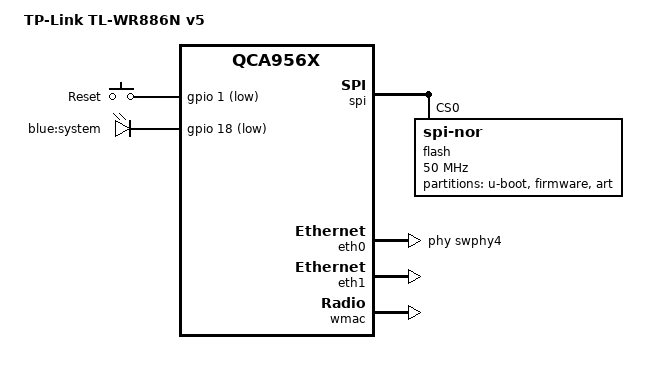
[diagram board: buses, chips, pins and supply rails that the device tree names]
// SPDX-License-Identifier: GPL-2.0-or-later OR MIT

#include "qca956x.dtsi"

#include <dt-bindings/gpio/gpio.h>
#include <dt-bindings/input/input.h>

/ {
	compatible = "tplink,tl-wr886n-v5", "qca,tp9343";
	model = "TP-Link TL-WR886N v5";

	aliases {
		label-mac-device = &wmac;
		led-boot = &led_system;
		led-failsafe = &led_system;
		led-running = &led_system;
		led-upgrade = &led_system;
	};

	keys {
		compatible = "gpio-keys";

		reset {
			label = "Reset";
			gpios = <&gpio 1 GPIO_ACTIVE_LOW>;
			linux,code = <KEY_RESTART>;
		};
	};

	leds {
		compatible = "gpio-leds";

		led_system: system {
			label = "blue:system";
			gpios = <&gpio 18 GPIO_ACTIVE_LOW>;
		};
	};
};

&spi {
	status = "okay";

	flash@0 {
		compatible = "jedec,spi-nor";
		reg = <0>;
		spi-max-frequency = <50000000>;
		m25p,fast-read;

		partitions {
			compatible = "fixed-partitions";
			#address-cells = <1>;
			#size-cells = <1>;

			uboot: partition@0 {
				label = "u-boot";
				reg = <0x000000 0x020000>;
				read-only;
			};

			partition@20000 {
				compatible = "tplink,firmware";
				label = "firmware";
				reg = <0x020000 0x7d0000>;
			};

			art: partition@3f0000 {
				label = "art";
				reg = <0x7f0000 0x010000>;
				read-only;
			};
		};
	};
};

&eth0 {
	status = "okay";

	phy-handle = <&swphy4>;

	mtd-mac-address = <&uboot 0x1fc00>;
	mtd-mac-address-increment = <1>;
};

&eth1 {
	status = "okay";

	mtd-mac-address = <&uboot 0x1fc00>;
	mtd-mac-address-increment = <(-1)>;
};

&wmac {
	status = "okay";

	mtd-cal-data = <&art 0x1000>;
	mtd-mac-address = <&uboot 0x1fc00>;
};
